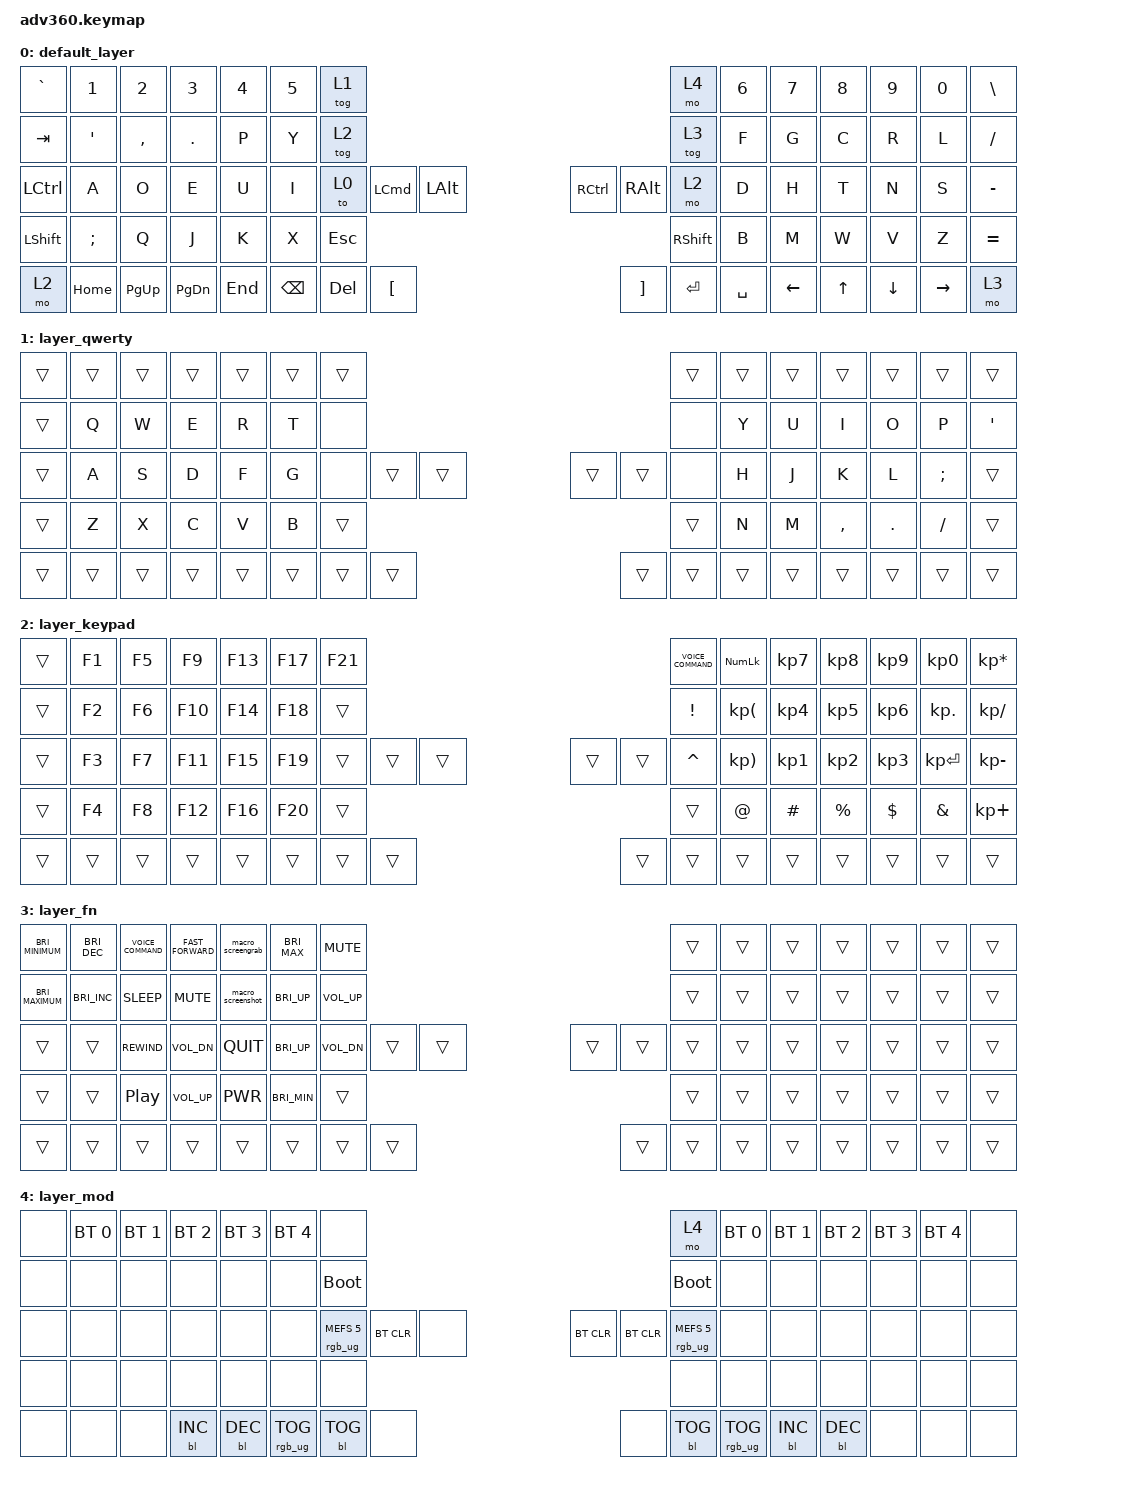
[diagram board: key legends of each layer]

/*
 * Copyright (c) 2020 The ZMK Contributors
 *
 * SPDX-License-Identifier: MIT
 */


/* THIS FILE WAS GENERATED!
 *
 * This file was generated automatically. You may or may not want to
 * edit it directly.
 */

#include <behaviors.dtsi>
#include <dt-bindings/zmk/keys.h>
#include <dt-bindings/zmk/bt.h>
#include <dt-bindings/zmk/rgb.h>
#include <dt-bindings/zmk/backlight.h>

/ {
  behaviors {
    #include "macros.dtsi"
    #include "version.dtsi"

    hm: homerow_mods {
        compatible = "zmk,behavior-hold-tap";
        label = "HOMEROW_MODS";
        #binding-cells = <2>;
        tapping-term-ms = <200>;
        quick_tap_ms = <175>;
        flavor = "tap-preferred";
        bindings = <&kp>, <&kp>;
    };
  };

    keymap {
        compatible = "zmk,keymap";


        default_layer {
            bindings = <
 &kp GRAVE          &kp N1     &kp N2         &kp N3   &kp N4  &kp N5              &tog 1                                                                                    &mo 4  &kp N6    &kp N7  &kp N8    &kp N9     &kp N0  &kp BACKSLASH
   &kp TAB  &kp APOSTROPHE  &kp COMMA     &kp PERIOD    &kp P   &kp Y              &tog 2                                                                                   &tog 3   &kp F     &kp G   &kp C     &kp R      &kp L      &kp SLASH
 &kp LCTRL           &kp A      &kp O          &kp E    &kp U   &kp I               &to 0  &kp LCMD          &kp LALT                          &kp RCTRL  &kp RIGHT_ALT      &mo 2   &kp D     &kp H   &kp T     &kp N      &kp S      &kp MINUS
 &kp LSHFT   &kp SEMICOLON      &kp Q          &kp J    &kp K   &kp X                                         &kp ESC                          &kp RSHFT                             &kp B     &kp M   &kp W     &kp V      &kp Z      &kp EQUAL
     &mo 2        &kp HOME  &kp PG_UP  &kp PAGE_DOWN  &kp END                    &kp BSPC   &kp DEL  &kp LEFT_BRACKET                  &kp RIGHT_BRACKET      &kp ENTER  &kp SPACE          &kp LEFT  &kp UP  &kp DOWN  &kp RIGHT          &mo 3
            >;
        };

        layer_qwerty {
            bindings = <
 &trans  &trans  &trans  &trans  &trans  &trans            &trans                                                  &trans  &trans  &trans     &trans      &trans         &trans          &trans
 &trans   &kp Q   &kp W   &kp E   &kp R   &kp T             &none                                                   &none   &kp Y   &kp U      &kp I       &kp O          &kp P  &kp APOSTROPHE
 &trans   &kp A   &kp S   &kp D   &kp F   &kp G             &none  &trans  &trans                  &trans  &trans   &none   &kp H   &kp J      &kp K       &kp L  &kp SEMICOLON          &trans
 &trans   &kp Z   &kp X   &kp C   &kp V   &kp B                            &trans                  &trans                   &kp N   &kp M  &kp COMMA  &kp PERIOD      &kp SLASH          &trans
 &trans  &trans  &trans  &trans  &trans                    &trans  &trans  &trans                  &trans  &trans  &trans          &trans     &trans      &trans         &trans          &trans
            >;
        };

        layer_keypad {
            bindings = <
 &trans  &kp F1  &kp F5   &kp F9  &kp F13  &kp F17            &kp F21                                                  &kp C_VOICE_COMMAND            &kp KP_NUMLOCK  &kp KP_N7    &kp KP_N8   &kp KP_N9      &kp KP_N0  &kp KP_MULTIPLY
 &trans  &kp F2  &kp F6  &kp F10  &kp F14  &kp F18             &trans                                                      &kp EXCLAMATION   &kp KP_LEFT_PARENTHESIS  &kp KP_N4    &kp KP_N5   &kp KP_N6     &kp KP_DOT    &kp KP_DIVIDE
 &trans  &kp F3  &kp F7  &kp F11  &kp F15  &kp F19             &trans  &trans  &trans                  &trans  &trans            &kp CARET  &kp KP_RIGHT_PARENTHESIS  &kp KP_N1    &kp KP_N2   &kp KP_N3   &kp KP_ENTER     &kp KP_MINUS
 &trans  &kp F4  &kp F8  &kp F12  &kp F16  &kp F20                             &trans                  &trans                                            &kp AT_SIGN   &kp HASH  &kp PERCENT  &kp DOLLAR  &kp AMPERSAND      &kp KP_PLUS
 &trans  &trans  &trans   &trans   &trans                      &trans  &trans  &trans                  &trans  &trans               &trans                               &trans       &trans      &trans         &trans           &trans
            >;
        };

        layer_fn {
            bindings = <
 &kp C_BRIGHTNESS_MINIMUM  &kp C_BRIGHTNESS_DEC  &kp C_VOICE_COMMAND  &kp C_FAST_FORWARD  &macro_screengrab  &kp C_BRI_MAX              &kp C_MUTE                                                  &trans  &trans  &trans  &trans  &trans  &trans  &trans
 &kp C_BRIGHTNESS_MAXIMUM  &kp C_BRIGHTNESS_INC          &kp C_SLEEP          &kp C_MUTE  &macro_screenshot   &kp C_BRI_UP            &kp C_VOL_UP                                                  &trans  &trans  &trans  &trans  &trans  &trans  &trans
                   &trans                &trans         &kp C_REWIND        &kp C_VOL_DN         &kp C_QUIT   &kp C_BRI_UP            &kp C_VOL_DN  &trans  &trans                  &trans  &trans  &trans  &trans  &trans  &trans  &trans  &trans  &trans
                   &trans                &trans     &kp C_PLAY_PAUSE        &kp C_VOL_UP          &kp C_PWR  &kp C_BRI_MIN                                  &trans                  &trans                  &trans  &trans  &trans  &trans  &trans  &trans
                   &trans                &trans               &trans              &trans             &trans                                 &trans  &trans  &trans                  &trans  &trans  &trans          &trans  &trans  &trans  &trans  &trans
            >;
        };

        layer_mod {
            bindings = <
  &none  &bt BT_SEL 0  &bt BT_SEL 1  &bt BT_SEL 2  &bt BT_SEL 3  &bt BT_SEL 4                             &none                                                                               &mo 4  &bt BT_SEL 0  &bt BT_SEL 1  &bt BT_SEL 2  &bt BT_SEL 3  &bt BT_SEL 4   &none
  &none         &none         &none         &none         &none         &none                       &bootloader                                                                         &bootloader         &none         &none         &none         &none         &none   &none
  &none         &none         &none         &none         &none         &none            &rgb_ug RGB_MEFS_CMD 5  &bt BT_CLR   &none                  &bt BT_CLR  &bt BT_CLR  &rgb_ug RGB_MEFS_CMD 5         &none         &none         &none         &none         &none   &none
  &none         &none         &none         &none         &none         &none                                                 &none                       &none                                             &none         &none         &none         &none         &none   &none
  &none         &none         &none    &bl BL_INC    &bl BL_DEC                                 &rgb_ug RGB_TOG  &bl BL_TOG   &none                       &none  &bl BL_TOG         &rgb_ug RGB_TOG                  &bl BL_INC    &bl BL_DEC         &none         &none   &none
            >;
        };

    };
};
